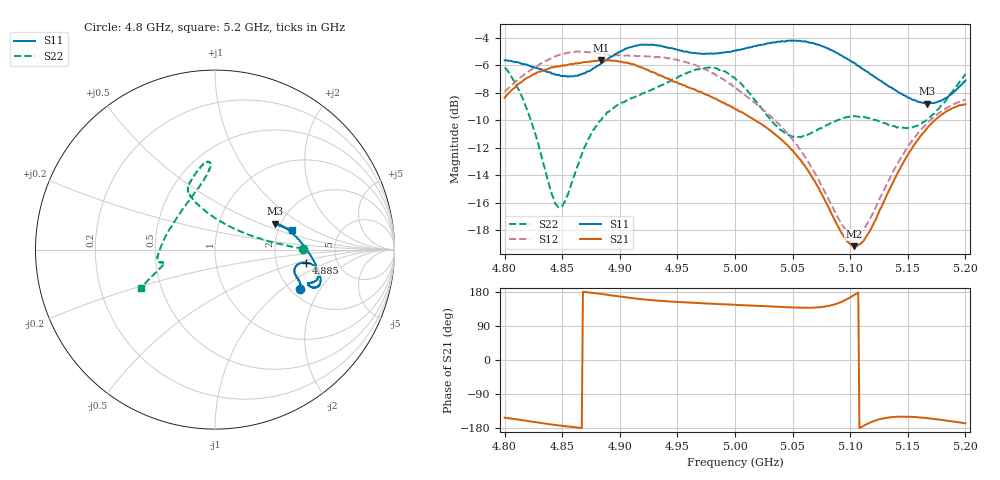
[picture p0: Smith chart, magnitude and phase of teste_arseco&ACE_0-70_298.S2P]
! Network Analyzer HP8722D
! Hewlett-Packard
! Data name: Linha & Wilkinson
! Saver's name: Rodrigo Anjos
! Comments: Teste da utilização de aquisição
! continua pelo VNA HP8722D
! Time and date: 8/5/2025 15:14
!  Frequency  S11  S21  S12  S22
# HZ  S  MA R 50
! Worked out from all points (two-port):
!   401 points, 4.8 GHz to 5.2 GHz, reference 50 ohm
!   highest |S21| = -5.63 dB at 4.884 GHz (marker M1); lowest = -19.2 dB at 5.103 GHz (marker M2)
!   |S21| within 3 dB of the highest: start of sweep to 4.987 GHz
!   lowest |S11| = -8.8 dB at 5.167 GHz (marker M3), VSWR 2.14, Z = 93.4 + j30.9 ohm
!   |S11| at or under -10 dB: nowhere
!   |S22| runs from -16.3 to -6.2 dB; largest |S21 - S12| = 1.1
!   S11 on the Smith chart (normalised r, x): 4.8 GHz: 2.23, -1.35; 4.885 GHz: 2.97, -0.58; 5.2 GHz: 2.36, +0.65
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4.8e9  0.5217 -25.0  0.3812 -152.5  0.4008 7.0  0.4907 0.6
4.818e9  0.505 -20.8  0.4462 -159.9  0.4674 4.6  0.3582 5.3
4.84e9  0.4718 -17.6  0.4907 -169.8  0.5309 1.0  0.176 34.6
4.846e9  0.4617 -16.2  0.4951 -172.3  0.5443 -0.2  0.1535 55.6
4.853e9  0.4581 -14.5  0.4998 -174.8  0.5543 -1.5  0.1619 80.9
4.867e9  0.4657 -10.7  0.5119 -179.6  0.561 -3.6  0.2373 106.8
4.884e9  0.5099 -8.0  0.5229 174.0  0.5526 -4.3  0.3172 114.1
4.885e9  0.512 -8.1  0.5217 173.8  0.5528 -4.4  0.3229 114.5
4.909e9  0.5816 -11.5  0.5075 164.0  0.5413 -3.7  0.3796 113.4
4.934e9  0.5911 -16.9  0.4606 156.2  0.5369 -4.3  0.4189 107.0
4.973e9  0.5507 -20.0  0.3952 149.5  0.4846 -7.6  0.4894 95.4
5e9  0.5673 -21.1  0.3477 145.6  0.4179 -7.6  0.451 94.1
5.042e9  0.6116 -19.2  0.2649 139.9  0.294 0.2  0.2874 129.9
5.067e9  0.6038 -14.1  0.1963 138.1  0.2112 8.4  0.2852 165.3
5.093e9  0.5428 -4.8  0.1222 154.1  0.1318 33.5  0.3194 -173.7
5.103e9  0.5124 0.1  0.1101 170.6  0.1204 52.5  0.3272 -170.2
5.115e9  0.4741 6.3  0.121 -168.3  0.1333 75.3  0.3227 -167.8
5.134e9  0.418 15.7  0.1766 -151.4  0.1929 94.0  0.3032 -166.5
5.15e9  0.3819 21.5  0.2362 -149.8  0.2525 98.5  0.2963 -165.0
5.167e9  0.3633 23.3  0.2962 -153.5  0.3086 99.3  0.3198 -162.0
5.182e9  0.3789 21.0  0.3371 -159.2  0.3463 99.2  0.3676 -157.9
5.2e9  0.441 14.6  0.3612 -167.1  0.3763 99.7  0.4653 -152.3
